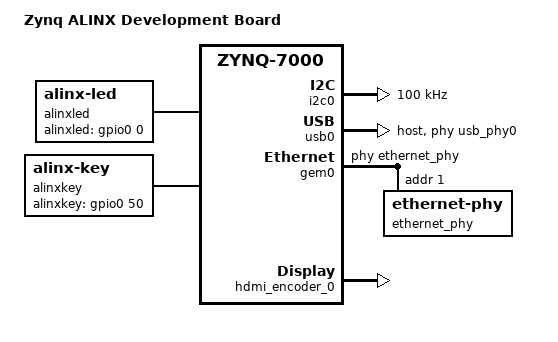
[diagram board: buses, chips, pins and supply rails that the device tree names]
/include/ "system-conf.dtsi"
/ {
    model = "Zynq ALINX Development Board";
    compatible = "alinx,zynq", "xlnx,zynq-7000";

    aliases {
        ethernet0 = "&gem0";
        serial0 = "&uart1";
    };

    usb_phy0: usb_phy@0 {
        compatible = "ulpi-phy";
        #phy-cells = <0>;
        reg = <0xe0002000 0x1000>;
        view-port = <0x0170>;
        drv-vbus;
    };
    
    amba {
        slcr@f8000000 {
             pinctrl_led_default: led-default {  
                mux {  
                    groups = "gpio0_0_grp";  
                    function = "gpio0";  
                };  

                conf {  
                    pins = "MIO0"; 
                    io-standard = <1>; 
                    bias-disable;  
                    slew-rate = <0>;  
                };      
            }; 
            pinctrl_key_default: key-default {
                mux {
                    groups = "gpio0_50_grp";
                    function = "gpio0";
                };

                conf {
                    pins = "MIO50";
                    io-standard = <1>;
                    bias-high-impedance;
                    slew-rate = <0>;
                };
            };
        };
    };

    alinxled {
        compatible = "alinx-led";
        pinctrl-names = "default";
        pinctrl-0 = <&pinctrl_led_default>;
        alinxled-gpios = <&gpio0 0 0>;
    };

    alinxkey {
        compatible = "alinx-key";
        pinctrl-names = "default";
        pinctrl-0 = <&pinctrl_key_default>;
        alinxkey-gpios = <&gpio0 50 0>;
    };
};

&i2c0 {
    clock-frequency = <100000>;
};

&usb0 {
    dr_mode = "host";
    usb-phy = <&usb_phy0>;
};

&sdhci0 {
    u-boot,dm-pre-reloc;
};

&uart1 {
    u-boot,dm-pre-reloc;
};

&flash0 {
    compatible = "micron,m25p80", "w25q256", "spi-flash";
};

&gem0 {
    phy-handle = <&ethernet_phy>;
    ethernet_phy: ethernet-phy@1 {
        reg = <1>;
        device_type = "ethernet-phy";
    };
};

&amba_pl {
    hdmi_encoder_0:hdmi_encoder {
        compatible = "digilent,drm-encoder";
        digilent,edid-i2c = <&i2c0>;
    };

    xilinx_drm {
        compatible = "xlnx,drm";
        xlnx,vtc = <&v_tc_0>;
        xlnx,connector-type = "HDMIA";
        xlnx,encoder-slave = <&hdmi_encoder_0>;
        clocks = <&axi_dynclk_0>;
        dglnt,edid-i2c = <&i2c0>;
        planes {
            xlnx,pixel-format = "rgb888";
            plane0 {
                dmas = <&axi_vdma_0 0>;
                dma-names = "dma";
            };
        };
    };
};

&axi_dynclk_0 {
    compatible = "digilent,axi-dynclk";
    #clock-cells = <0>;
    clocks = <&clkc 15>;
};

&v_tc_0 {
    compatible = "xlnx,v-tc-5.01.a";
};
